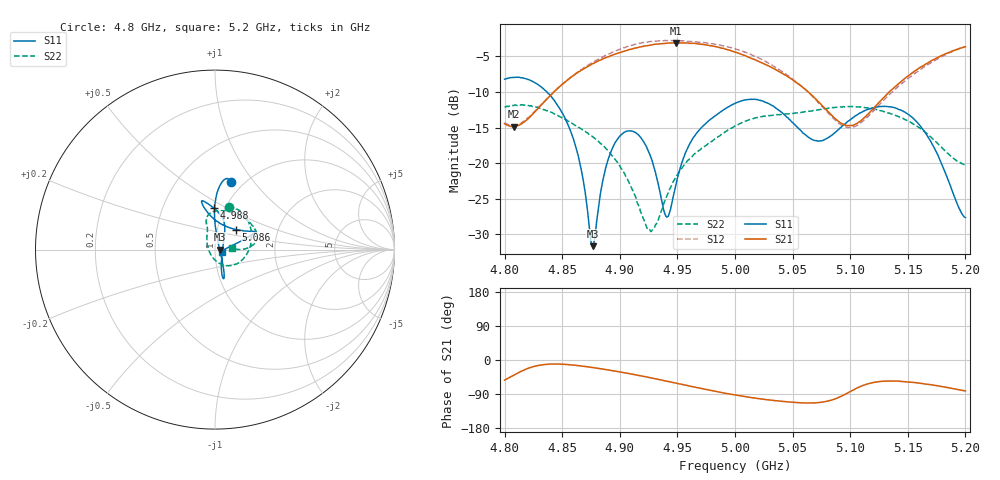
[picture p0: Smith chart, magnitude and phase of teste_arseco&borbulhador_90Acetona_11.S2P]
! Network Analyzer HP8722D
! Hewlett-Packard
! Data name: Linha & Wilkinson
! Saver's name: Rodrigo Anjos
! Comments: Teste da utilização de aquisição
! continua pelo VNA HP8722D
! Time and date: 17/4/2025 11:08
!  Frequency  S11  S21  S12  S22
# HZ  S  MA R 50
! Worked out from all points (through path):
!   401 points, 4.8 GHz to 5.2 GHz, reference 50 ohm
!   highest |S21| = -3.08 dB at 4.949 GHz (marker M1); lowest = -14.9 dB at 4.808 GHz (marker M2)
!   lowest |S11| = -31.7 dB at 4.877 GHz (marker M3), VSWR 1.05, Z = 52.7 + j0.0518 ohm
!   |S11| at or under -10 dB: 4.837 GHz to end of sweep
!   |S22| runs from -29.6 to -11.8 dB; largest |S21 - S12| = 1.4
!   S11 on the Smith chart (normalised r, x): 4.8 GHz: 0.87, +0.78; 4.988 GHz: 0.89, +0.43; 5.086 GHz: 1.23, +0.28; 5.2 GHz: 1.08, -0.02
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4.8e9  0.3892 76.8  0.1895 -53.0  0.1926 82.1  0.2476 71.9
4.808e9  0.4004 79.2  0.1806 -40.0  0.1841 94.0  0.2544 65.1
4.845e9  0.2627 89.9  0.3289 -10.6  0.3301 122.8  0.2188 21.2
4.858e9  0.162 90.3  0.4038 -12.9  0.4047 122.5  0.1918 1.7
4.867e9  0.08616 84.2  0.4521 -16.0  0.4568 121.1  0.1734 -12.4
4.877e9  0.02609 1.1  0.5013 -20.1  0.5147 118.6  0.1521 -27.9
4.888e9  0.09431 -62.6  0.5518 -25.4  0.5744 114.9  0.1266 -44.7
4.902e9  0.1603 -71.6  0.6062 -32.5  0.641 109.0  0.08998 -66.5
4.925e9  0.1208 -72.8  0.6737 -45.9  0.714 96.0  0.03388 -142.8
4.934e9  0.06754 -57.7  0.6882 -51.7  0.7262 90.3  0.04139 161.8
4.941e9  0.04173 -6.7  0.698 -56.1  0.7275 85.9  0.05924 138.3
4.949e9  0.07217 47.4  0.7014 -61.1  0.7271 80.8  0.08088 124.4
4.963e9  0.1472 68.8  0.6966 -70.3  0.7161 71.9  0.1118 112.1
4.988e9  0.2309 91.6  0.6443 -85.7  0.673 55.9  0.159 108.1
5e9  0.2634 100.1  0.6046 -92.4  0.6379 48.5  0.1825 105.0
5.029e9  0.263 105.5  0.4839 -105.2  0.5062 33.5  0.2161 88.3
5.067e9  0.1465 76.7  0.2992 -113.3  0.2962 27.6  0.2325 54.5
5.086e9  0.1619 43.7  0.2089 -103.5  0.2042 39.4  0.2457 36.4
5.105e9  0.2164 28.2  0.1887 -75.3  0.1824 69.3  0.2492 22.1
5.134e9  0.2493 23.4  0.3165 -55.4  0.3029 91.0  0.2247 9.0
5.164e9  0.1688 19.3  0.4873 -62.9  0.4727 85.4  0.1679 1.4
5.2e9  0.04148 -15.9  0.6588 -81.7  0.6599 67.6  0.0973 5.5
